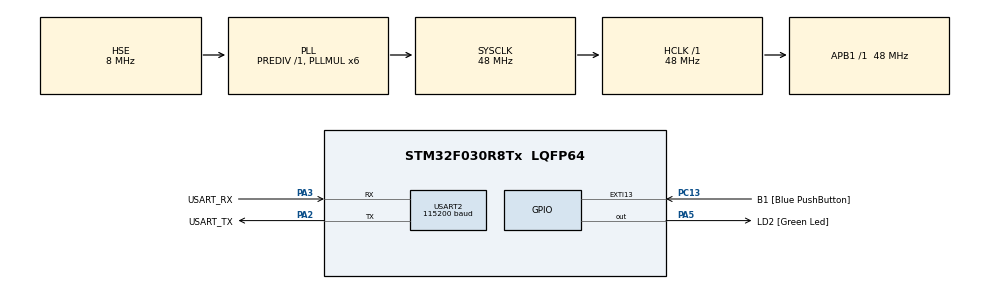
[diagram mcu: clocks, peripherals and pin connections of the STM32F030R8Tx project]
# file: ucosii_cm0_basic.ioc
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Mcu.Family=STM32F0
Mcu.Name=STM32F030R8Tx
Mcu.Package=LQFP64
NVIC.TIM6_IRQn=true\:0\:0\:false\:false\:true\:false\:true
NVIC.TimeBase=TIM6_IRQn
NVIC.TimeBaseIP=TIM6
PA13.GPIO_Label=TMS
PA13.Mode=Serial_Wire
PA13.Signal=SYS_SWDIO
PA14.GPIO_Label=TCK
PA14.Mode=Serial_Wire
PA14.Signal=SYS_SWCLK
PA2.GPIO_Label=USART_TX
PA2.GPIO_Mode=GPIO_MODE_AF_PP
PA2.GPIO_PuPd=GPIO_NOPULL
PA2.GPIO_Speed=GPIO_SPEED_FREQ_LOW
PA2.Mode=Asynchronous
PA2.Signal=USART2_TX
PA3.GPIO_Label=USART_RX
PA3.GPIO_Mode=GPIO_MODE_AF_PP
PA3.GPIO_PuPd=GPIO_NOPULL
PA3.GPIO_Speed=GPIO_SPEED_FREQ_LOW
PA3.Mode=Asynchronous
PA3.Signal=USART2_RX
PA5.GPIO_Label=LD2 [Green Led]
PA5.GPIO_Mode=GPIO_MODE_OUTPUT_PP
PA5.GPIO_PuPd=GPIO_NOPULL
PA5.GPIO_Speed=GPIO_SPEED_FREQ_LOW
PA5.Signal=GPIO_Output
PC13.GPIO_Label=B1 [Blue PushButton]
PC13.GPIO_ModeDefaultEXTI=GPIO_MODE_IT_FALLING
PC13.Signal=GPXTI13
PC14-OSC32_IN.Mode=LSE-External-Clock-Source
PC14-OSC32_IN.Signal=RCC_OSC32_IN
PC15-OSC32_OUT.Signal=RCC_OSC32_OUT
PF0-OSC_IN.Mode=HSE-External-Oscillator
PF0-OSC_IN.Signal=RCC_OSC_IN
PF1-OSC_OUT.Mode=HSE-External-Oscillator
PF1-OSC_OUT.Signal=RCC_OSC_OUT
ProjectManager.HeapSize=0x100
ProjectManager.StackSize=0x500
ProjectManager.TargetToolchain=Makefile
RCC.AHBFreq_Value=48000000
RCC.APB1Freq_Value=48000000
RCC.APB1TimFreq_Value=48000000
RCC.HCLKFreq_Value=48000000
RCC.PLLMUL=RCC_PLL_MUL6
RCC.PLLSourceVirtual=RCC_PLLSOURCE_HSE
RCC.SYSCLKFreq_VALUE=48000000
RCC.SYSCLKSource=RCC_SYSCLKSOURCE_PLLCLK
USART2.BaudRate=115200
USART2.VirtualMode-Asynchronous=VM_ASYNC
VP_SYS_VS_tim6.Mode=TIM6
board=NUCLEO-F030R8

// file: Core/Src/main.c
/* USER CODE BEGIN Header */
/**
  ******************************************************************************
  * @file           : main.c
  * @brief          : Main program body
  ******************************************************************************
  * @attention
  *
  * <h2><center>&copy; Copyright (c) 2020 STMicroelectronics.
  * All rights reserved.</center></h2>
  *
  * This software component is licensed by ST under BSD 3-Clause license,
  * the "License"; You may not use this file except in compliance with the
  * License. You may obtain a copy of the License at:
  *                        opensource.org/licenses/BSD-3-Clause
  *
  ******************************************************************************
  */
/* USER CODE END Header */
#include "main.h"
#include "usart.h"
#include "gpio.h"

/* USER CODE BEGIN Includes */
#include <stdio.h>
#include <stdint.h>

#include "utils.h"
#include "print.h"

#include "lib_mem.h"
#include "cpu.h"
#include "ucos_ii.h"
#include "os_cfg.h"
#include "os_cpu.h"

/* USER CODE END Includes */

void SystemClock_Config(void);

/* USER CODE BEGIN 0 */
OS_STK p_stack1[128];
OS_STK p_stack2[128];
OS_STK p_stack3[128];

OS_EVENT *pse = NULL;

void task_one_ctx(void *argc)
{
    while (1) {
        printf("task one run\r\n");
        HAL_GPIO_WritePin(LD2_GPIO_Port, LD2_Pin, GPIO_PIN_RESET);
        OSTimeDlyHMSM(0, 0, 0, 500);
        HAL_GPIO_WritePin(LD2_GPIO_Port, LD2_Pin, GPIO_PIN_SET);
        OSTimeDlyHMSM(0, 0, 0, 500);
    }
}

void task_two_ctx(void *argc)
{
    uint8_t v, err;
    volatile uint8_t flag = 0;

    // indicate a event not occurred yet
    v = 0;
    pse = OSSemCreate(v);
    if (!pse) {
        // report error
        // delete task
        __NOP();
    }

    while (1) {
        OSSemPend(pse, 0, &err);
        if (err != OS_ERR_NONE) {
            __NOP();
        } else {
            flag = 1;
        }
        if (flag) {
            printf("task two run\r\n");
            flag = 0;
        }
    }
}

void task_three_ctx(void *argc)
{
    while (1) {
        printf("task three run\r\n");
        OSSemPost(pse);
        OSTimeDlyHMSM(0, 0, 1, 0);
    }
}

/* USER CODE END 0 */

int main(void)
{

  /* MCU Configuration--------------------------------------------------------*/

  /* Reset of all peripherals, Initializes the Flash interface and the Systick. */
  HAL_Init();

  /* Configure the system clock */
  SystemClock_Config();

  /* Initialize all configured peripherals */
  MX_GPIO_Init();
  MX_USART2_UART_Init();
  /* USER CODE BEGIN 2 */

  // Init tick for uC-OS
  uint32_t cpu_hclk_freq = HAL_RCC_GetHCLKFreq();
  OS_CPU_SysTickInitFreq(cpu_hclk_freq);

  print_init(&huart2);

  Mem_Init();
  CPU_IntDis();
  CPU_Init();

  OSInit();

  OSTaskCreate(task_one_ctx, NULL, &p_stack1[127], 5);
  OSTaskCreate(task_two_ctx, NULL, &p_stack2[127], 6);
  OSTaskCreate(task_three_ctx, NULL, &p_stack3[127], 7);

  OSStart();

  /* USER CODE END 2 */

  /* Infinite loop */
  while (1)
  {

  }
}

void SystemClock_Config(void)
{
  RCC_OscInitTypeDef RCC_OscInitStruct = {0};
  RCC_ClkInitTypeDef RCC_ClkInitStruct = {0};

  /** Initializes the RCC Oscillators according to the specified parameters
  * in the RCC_OscInitTypeDef structure.
  */
  RCC_OscInitStruct.OscillatorType = RCC_OSCILLATORTYPE_HSE;
  RCC_OscInitStruct.HSEState = RCC_HSE_ON;
  RCC_OscInitStruct.PLL.PLLState = RCC_PLL_ON;
  RCC_OscInitStruct.PLL.PLLSource = RCC_PLLSOURCE_HSE;
  RCC_OscInitStruct.PLL.PLLMUL = RCC_PLL_MUL6;
  RCC_OscInitStruct.PLL.PREDIV = RCC_PREDIV_DIV1;
  if (HAL_RCC_OscConfig(&RCC_OscInitStruct) != HAL_OK)
  {
    Error_Handler();
  }
  /** Initializes the CPU, AHB and APB buses clocks
  */
  RCC_ClkInitStruct.ClockType = RCC_CLOCKTYPE_HCLK|RCC_CLOCKTYPE_SYSCLK
                              |RCC_CLOCKTYPE_PCLK1;
  RCC_ClkInitStruct.SYSCLKSource = RCC_SYSCLKSOURCE_PLLCLK;
  RCC_ClkInitStruct.AHBCLKDivider = RCC_SYSCLK_DIV1;
  RCC_ClkInitStruct.APB1CLKDivider = RCC_HCLK_DIV1;

  if (HAL_RCC_ClockConfig(&RCC_ClkInitStruct, FLASH_LATENCY_1) != HAL_OK)
  {
    Error_Handler();
  }
}

void HAL_TIM_PeriodElapsedCallback(TIM_HandleTypeDef *htim)
{
    if (htim->Instance == TIM6) {
        HAL_IncTick();
    }
}

void Error_Handler(void)
{
  while (1) {
  }
}

/************************ (C) COPYRIGHT STMicroelectronics *****END OF FILE****/
